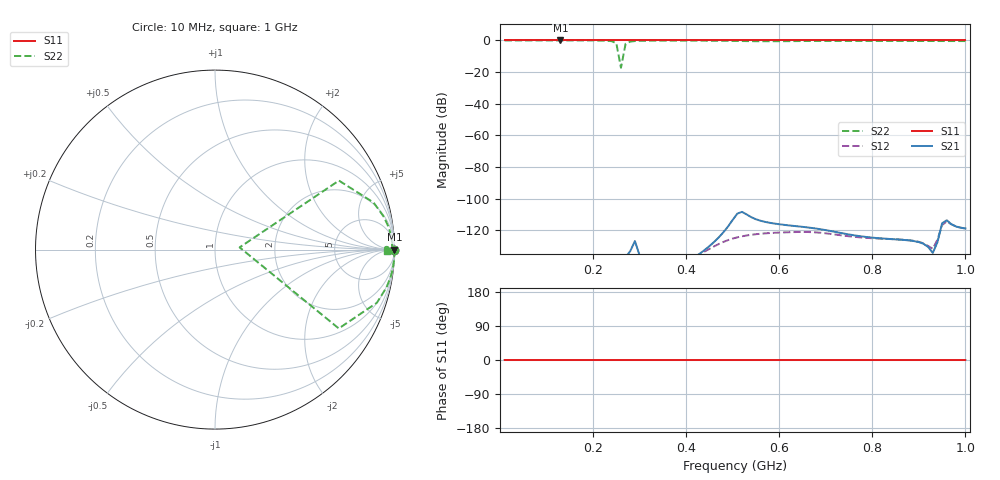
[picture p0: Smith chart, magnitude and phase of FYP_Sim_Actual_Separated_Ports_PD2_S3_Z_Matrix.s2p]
! Touchstone file from project FYP_Sim_Actual_Separated_Ports
! Exported from HFSS 13.0.2
# GHZ Z MA R 50.000000
! Terminal data exported
! Port[1] = PD2_Incision_Port_T1
! Port[2] = Radiating_Plate_T1
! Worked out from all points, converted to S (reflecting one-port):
!   100 points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, 10 MHz to 1 GHz, reference 50 ohm
!   lowest |S11| = 0.0 dB at 130 MHz (marker M1)
!   phase of S11 starts at -0 deg and turns -0 deg over the sweep
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0.01  2.912e+05 -90.0  0.0003773 -43.7  0.000377 -43.7  765.3 -89.2
0.13  2.243e+04 -89.9  0.001517 74.5  0.001131 140.6  47.88 -89.0
0.18  1.62e+04 -90.0  0.001793 92.7  0.001445 127.0  25.56 -88.4
0.21  1.388e+04 -90.0  0.001376 103.3  0.001335 106.8  15.4 -87.1
0.22  1.325e+04 -90.0  0.001136 107.8  0.001285 95.9  12.25 -86.1
0.23  1.267e+04 -90.0  0.0008279 115.1  0.001242 81.1  9.182 -84.3
0.24  1.214e+04 -90.0  0.0004504 136.6  0.001222 59.9  6.167 -80.5
0.25  1.165e+04 -90.0  0.0004226 -132.7  0.001282 27.1  3.246 -69.3
0.26  1.121e+04 -90.0  0.001309 -101.9  0.001679 -27.3  1.318 1.4
0.27  1.079e+04 -90.0  0.003125 -99.1  0.003006 -110.5  3.513 64.0
0.28  1.04e+04 -90.0  0.008035 -109.7  0.003539 169.0  6.624 74.0
0.29  1.005e+04 -90.0  0.02352 177.1  0.003455 126.9  9.947 77.2
0.3  9710 -90.0  0.01078 111.8  0.003671 103.4  13.47 78.5
0.31  9396 -90.0  0.006818 93.7  0.004146 87.9  17.23 78.9
0.34  8566 -90.0  0.005725 52.1  0.007102 60.9  30.72 77.1
0.41  7102 -90.0  0.03886 -1.6  0.04136 6.9  91.8 47.4
0.51  5709 -90.0  0.4804 -135.0  0.08535 -146.9  48.8 -19.2
0.58  5019 -90.0  0.1534 114.5  0.07294 151.5  34.35 3.4
0.62  4694 -90.0  0.1312 93.4  0.07954 117.2  37.92 16.1
0.67  4343 -90.0  0.1272 55.2  0.09375 62.0  48.3 21.0
0.84  3463 -90.0  0.05385 -77.1  0.05379 -82.3  57.64 -7.6
1  2907 -90.0  0.0764 -140.7  0.07645 -156.6  44.81 -7.0
